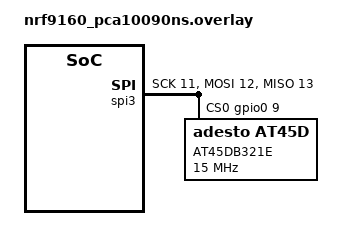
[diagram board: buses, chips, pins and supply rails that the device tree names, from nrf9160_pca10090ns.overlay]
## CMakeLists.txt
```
#
# Copyright (c) 2019 Nordic Semiconductor
#
# SPDX-License-Identifier: LicenseRef-BSD-5-Clause-Nordic
#

cmake_minimum_required(VERSION 3.8.2)

include($ENV{ZEPHYR_BASE}/../nrf/cmake/boilerplate.cmake)
include($ENV{ZEPHYR_BASE}/cmake/app/boilerplate.cmake NO_POLICY_SCOPE)
project(http_application_update)

# NORDIC SDK APP START
target_sources(app PRIVATE src/main.c)
add_subdirectory(mfu)
zephyr_library_include_directories(
  mfu
  )

# Get direct access to the API provided by dfu_target_flash
target_include_directories(app
  PRIVATE
  ${ZEPHYR_BASE}/../nrf/subsys/dfu/include
  )
# NORDIC SDK APP END
```

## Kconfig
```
#
# Copyright (c) 2019 Nordic Semiconductor ASA
#
# SPDX-License-Identifier: LicenseRef-BSD-5-Clause-Nordic
#

menu "HTTP application update sample"

config DOWNLOAD_HOST
	string "Download host name"

config DOWNLOAD_FILE
	string "The file to download"

config APPLICATION_VERSION
	int "Application version"
	default 1

endmenu

menu "MFU"
rsource "mfu/Kconfig"
endmenu

menu "Zephyr Kernel"
source "$ZEPHYR_BASE/Kconfig.zephyr"
endmenu
```

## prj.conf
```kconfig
#
# Copyright (c) 2019 Nordic Semiconductor ASA
#
# SPDX-License-Identifier: LicenseRef-BSD-5-Clause-Nordic
#
# General config
CONFIG_NCS_SAMPLES_DEFAULTS=y
CONFIG_REBOOT=y

# Network
CONFIG_NETWORKING=y
CONFIG_NET_SOCKETS=y
CONFIG_NET_NATIVE=n

# LTE link control
CONFIG_LTE_LINK_CONTROL=y
CONFIG_LTE_AUTO_INIT_AND_CONNECT=n

# BSD library
CONFIG_BSD_LIBRARY=y
CONFIG_BSD_LIBRARY_SYS_INIT=n

# Library for buttons and LEDs
CONFIG_DK_LIBRARY=y
CONFIG_DK_LIBRARY_INVERT_LEDS=n

# Heap and stacks
CONFIG_HEAP_MEM_POOL_SIZE=4096
CONFIG_MAIN_STACK_SIZE=16384

# Image manager
CONFIG_IMG_MANAGER=y
CONFIG_FLASH=y
CONFIG_IMG_ERASE_PROGRESSIVELY=y

# GPIO
CONFIG_GPIO=y

# FOTA library
CONFIG_FOTA_DOWNLOAD=y

# Download client
CONFIG_DOWNLOAD_CLIENT=y
CONFIG_DOWNLOAD_CLIENT_STACK_SIZE=4096

# DFU Target
CONFIG_DFU_TARGET=y
CONFIG_DFU_TARGET_MCUBOOT_SAVE_PROGRESS=y

# Settings
CONFIG_SETTINGS=y
CONFIG_SETTINGS_NVS=y

# Non-volatile Storage
CONFIG_NVS=y

# Application Upgrade support
CONFIG_BOOTLOADER_MCUBOOT=y

# Sample configuration
CONFIG_DOWNLOAD_HOST="auko-bucket.s3.eu-central-1.amazonaws.com"
CONFIG_DOWNLOAD_FILE="test_short.bin"
#CONFIG_DOWNLOAD_FILE="mfw_nrf9160_1.1.0.bin"

CONFIG_APPLICATION_VERSION=1

# Serial flash
CONFIG_FLASH=y
CONFIG_FLASH_PAGE_LAYOUT=y
CONFIG_SPI_FLASH_AT45D=y
CONFIG_SPI=y
CONFIG_LOG=y
# CONFIG_TINYCRYPT=y
# CONFIG_TINYCRYPT_SHA256=y
CONFIG_MFU_ENABLE=y
CONFIG_DFU_TARGET_FLASH=y
CONFIG_DFU_TARGET_MODEM=y
CONFIG_DFU_TARGET_MCUBOOT=y
CONFIG_NORDIC_SECURITY_BACKEND=y
```

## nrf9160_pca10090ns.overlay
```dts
&spi3 {
	sck-pin = <11>;
	mosi-pin = <12>;
	miso-pin = <13>;
	cs-gpios = <&gpio0 9 0>;

	at45db321e@0 {
		compatible = "adesto,at45d";
		reg = <0>;
		spi-max-frequency = <15000000>;
		label = "AT45DB321E";
		jedec-id = [1f 27 01];
		size = <33554432>;
		block-size = <4096>;
		page-size = <512>;
	};
};
```

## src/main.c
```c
/*
 * Copyright (c) 2019 Nordic Semiconductor ASA
 *
 * SPDX-License-Identifier: LicenseRef-BSD-5-Clause-Nordic
 */
#include <zephyr.h>
#include <drivers/gpio.h>
#include <drivers/flash.h>
#include <bsd.h>
#include <lte_lc.h>
#include <at_cmd.h>
#include <at_notif.h>
#include <net/bsdlib.h>
#include <net/fota_download.h>
#include <dfu/mcuboot.h>
#include "dfu_target_flash.h"

#include "mfu.h"

#define LED_PORT	DT_ALIAS_LED0_GPIOS_CONTROLLER

static struct		device *gpiob;
static struct		gpio_callback gpio_cb;
static struct k_work	fota_work;

static u32_t update_begin;
static u32_t update_end;

/**@brief Recoverable BSD library error. */
void bsd_recoverable_error_handler(uint32_t err)
{
	printk("bsdlib recoverable error: %u\n", err);
}

/**@brief Start transfer of the file. */
static void app_dfu_transfer_start(struct k_work *unused)
{
	int retval;

	mfu_update_verify_stream_init();

	retval = fota_download_start(CONFIG_DOWNLOAD_HOST,
				     CONFIG_DOWNLOAD_FILE);
	if (retval != 0) {
		/* Re-enable button callback */
		gpio_pin_enable_callback(gpiob, DT_ALIAS_SW0_GPIOS_PIN);

		printk("fota_download_start() failed, err %d\n",
			retval);
	}
}

/**@brief Turn on LED0 and LED1 if CONFIG_APPLICATION_VERSION
 * is 2 and LED0 otherwise.
 */
static int led_app_version(void)
{
	struct device *dev;

	dev = device_get_binding(LED_PORT);
	if (dev == 0) {
		printk("Nordic nRF GPIO driver was not found!\n");
		return 1;
	}

	gpio_pin_configure(dev, DT_ALIAS_LED0_GPIOS_PIN, GPIO_DIR_OUT);
	gpio_pin_write(dev, DT_ALIAS_LED0_GPIOS_PIN, 1);

#if CONFIG_APPLICATION_VERSION == 2
	gpio_pin_configure(dev, DT_ALIAS_LED1_GPIOS_PIN, GPIO_DIR_OUT);
	gpio_pin_write(dev, DT_ALIAS_LED1_GPIOS_PIN, 1);
#endif
	return 0;
}

void dfu_button_pressed(struct device *gpiob, struct gpio_callback *cb,
			u32_t pins)
{
	k_work_submit(&fota_work);
	gpio_pin_disable_callback(gpiob, DT_ALIAS_SW0_GPIOS_PIN);

	update_begin = k_cycle_get_32();
}

static int dfu_button_init(void)
{
	int err;

	gpiob = device_get_binding(DT_ALIAS_SW0_GPIOS_CONTROLLER);
	if (gpiob == 0) {
		printk("Nordic nRF GPIO driver was not found!\n");
		return 1;
	}
	err = gpio_pin_configure(gpiob, DT_ALIAS_SW0_GPIOS_PIN,
				 GPIO_DIR_IN | GPIO_INT | GPIO_PUD_PULL_UP |
					 GPIO_INT_EDGE | GPIO_INT_ACTIVE_LOW);
	if (err == 0) {
		gpio_init_callback(&gpio_cb, dfu_button_pressed,
			BIT(DT_ALIAS_SW0_GPIOS_PIN));
		err = gpio_add_callback(gpiob, &gpio_cb);
	}
	if (err == 0) {
		err = gpio_pin_enable_callback(gpiob, DT_ALIAS_SW0_GPIOS_PIN);
	}
	if (err != 0) {
		printk("Unable to configure SW0 GPIO pin!\n");
		return 1;
	}
	return 0;
}


void fota_dl_handler(const struct fota_download_evt *evt)
{
	u32_t time_diff;
	int err;

	switch (evt->id) {
	case FOTA_DOWNLOAD_EVT_ERROR:
		printk("Received error from fota_download\n");
		gpio_pin_enable_callback(gpiob, DT_ALIAS_SW0_GPIOS_PIN);
		break;
	case FOTA_DOWNLOAD_EVT_PROGRESS:
		// printk("FOTA_DOWNLOAD_EVT_PROGRESS: %d\n", evt->offset);
		err = mfu_update_verify_stream_process(evt->offset);
		if (err) {
			printk("ERROR: mfu_update_verify_stream_process: %d\n", err);
		}
		break;
	case FOTA_DOWNLOAD_EVT_FINISHED:
		/* Re-enable button callback */
		printk("FOTA DOWNLOAD FINISHED\n");
		gpio_pin_enable_callback(gpiob, DT_ALIAS_SW0_GPIOS_PIN);

		update_end = k_cycle_get_32();
		time_diff = update_begin < update_end ?
			(update_end - update_begin) :
			(UINT32_MAX - update_begin + update_end);
		printk("Download took %d ms\n",
			(time_diff * 1000) / CONFIG_SYS_CLOCK_HW_CYCLES_PER_SEC);

		err = mfu_update_verify_stream_finalize();
		if (err) {
			printk("ERROR: mfu_update_verify_stream_finalize: %d\n", err);
		} else {
			err = mfu_update_available_set();
			if (err) {
				printk("mfu_update_available_set: %d\n", err);
			}
		}

		break;

	default:
		break;
	}
}

/**@brief Configures modem to provide LTE link.
 *
 * Blocks until link is successfully established.
 */
static void modem_configure(void)
{
#if defined(CONFIG_LTE_LINK_CONTROL)
	BUILD_ASSERT_MSG(!IS_ENABLED(CONFIG_LTE_AUTO_INIT_AND_CONNECT),
			"This sample does not support auto init and connect");
	int err;

	err = at_notif_init();
	__ASSERT(err == 0, "AT Notify could not be initialized.");
	err = at_cmd_init();
	__ASSERT(err == 0, "AT CMD could not be established.");
	printk("LTE Link Connecting ...\n");
	err = lte_lc_init_and_connect();
	__ASSERT(err == 0, "LTE link could not be established.");
	// if (err) {
	// 	printk("LTE link could not be established.\n");
	// }
	printk("LTE Link Connected!\n");
#endif
}

static int application_init(void)
{
	int err;

	k_work_init(&fota_work, app_dfu_transfer_start);

	err = dfu_button_init();
	if (err != 0) {
		return err;
	}

	err = led_app_version();
	if (err != 0) {
		return err;
	}

	err = fota_download_init(fota_dl_handler);
	if (err != 0) {
		return err;
	}

	return 0;
}

#define FLASH_DEVICE  DT_INST_0_ADESTO_AT45D_LABEL
#define FLASH_DEVICE_ADDR_OFFSET 0
// #define FLASH_DEVICE_ADDR_OFFSET (FLASH_DEVICE_SIZE_BYTES / 2)
#define FLASH_DEVICE_SIZE_BYTES (DT_INST_0_ADESTO_AT45D_SIZE / 8)

// Addr offset 0 contains full update
// Addr offset FLASH_DEVICE_SIZE_BYTES / 2 contains small test file

#define FLASH_DEVICE_FULL_TEST 0

#if FLASH_DEVICE_FULL_TEST
static void serial_flash_test(void)
{
	printk("DataFlash test app on %s\n", CONFIG_BOARD);
	static u8_t write_buf[512];
	static u8_t read_buf[512];

	struct device *flash_dev;
	int i;
	int err;

	flash_dev = device_get_binding(FLASH_DEVICE);
	if (!flash_dev) {
		printk("Device %s not found!\n", FLASH_DEVICE);
		return;
	}

	for (i = 0; i < sizeof(write_buf); ++i) {
		write_buf[i] = (u8_t)i;
	}

	const struct flash_pages_layout *layout;
	const struct flash_driver_api *api = flash_dev->driver_api;
	size_t layout_size;
	api->page_layout(flash_dev, &layout, &layout_size);

	if (!layout) {
		printk("layout is NULL\n");
		return;
	}

	if (layout->pages_size != sizeof(write_buf)) {
		printk("ERROR: Page size mismatch\n");
		return;
	}

	printk("Erasing the entire flash... ");

	u32_t duration;
	u32_t timestamp_start, timestamp_end;
	u32_t time_diff;

	if (CONFIG_SYS_CLOCK_HW_CYCLES_PER_SEC != 32768) {
		printk("CONFIG_SYS_CLOCK_HW_CYCLES_PER_SEC: %d\n", CONFIG_SYS_CLOCK_HW_CYCLES_PER_SEC);
		return;
	}

	timestamp_start = k_cycle_get_32();

	for (int j = 0; j < ((layout->pages_count * 512) / DT_INST_0_ADESTO_AT45D_BLOCK_SIZE); ++j) {
		err = flash_erase(flash_dev, j * DT_INST_0_ADESTO_AT45D_BLOCK_SIZE, DT_INST_0_ADESTO_AT45D_BLOCK_SIZE);
		if (err != 0) {
			printk("FAILED to erase block %d\n", j);
		}
	}

	timestamp_end = k_cycle_get_32();
	time_diff = timestamp_start < timestamp_end ?
		(timestamp_end - timestamp_start) :
		(UINT32_MAX - timestamp_start + timestamp_end);

	printk("Erasing took %d ticks... \n", time_diff);

	printk("Writing the entire flash...\n");

	u32_t byte_count;

	byte_count = 0;
	timestamp_start = k_cycle_get_32();
	for (int j = 0; j < layout->pages_count; ++j) {
		err = flash_write(flash_dev, j * 512,
				write_buf,  sizeof(write_buf));
		if (err != 0) {
			printk("FAILED\n");
		} else {
			byte_count += sizeof(write_buf);
		}
	}

	timestamp_end = k_cycle_get_32();
	time_diff = timestamp_start < timestamp_end ?
		(timestamp_end - timestamp_start) :
		(UINT32_MAX - timestamp_start + timestamp_end);
	printk("Writing %d bytes took %d ticks... \n", byte_count, time_diff);

	printk("Reading the entire flash...\n");

	byte_count = 0;
	duration = 0;
	for (int j = 0; j < layout->pages_count; ++j) {
		timestamp_start = k_cycle_get_32();
		err = flash_read(flash_dev, j * 512,
			 read_buf, sizeof(read_buf));
		if (err != 0) {
			printk("FAILED\n");
		} else {
			byte_count += sizeof(read_buf);
		}
		timestamp_end = k_cycle_get_32();
		time_diff = timestamp_start < timestamp_end ?
		(timestamp_end - timestamp_start) :
		(UINT32_MAX - timestamp_start + timestamp_end);
		duration += time_diff;

		for (int k = 0; k < sizeof(read_buf); ++k) {
			if (read_buf[k] != write_buf[k]) {
				printk("\nERROR at offset %d: "
					"expected %02X, read %02X\n",
					j * 512 + k, write_buf[k], read_buf[k]);
			}
		}
	}
	printk("Read %d bytes in %d ticks...\n", byte_count, duration);
}
#endif

void main(void)
{
	int err;

#if FLASH_DEVICE_FULL_TEST
	serial_flash_test();
#endif

	struct device *flash_dev;

	flash_dev = device_get_binding(FLASH_DEVICE);

	static u8_t dfu_flash_buf[512];

	err = dfu_target_flash_cfg(FLASH_DEVICE, FLASH_DEVICE_ADDR_OFFSET, FLASH_DEVICE_SIZE_BYTES,
			 dfu_flash_buf, sizeof(dfu_flash_buf));
	if (err) {
		printk("dfu_target_flash_cfg: %d\n", err);
	}


	err = mfu_init(flash_dev, FLASH_DEVICE_ADDR_OFFSET);
	if (err) {
		printk("mfu_init(): %d\n", err);
	}

#if 0
	bool update_available = mfu_update_available_get();

	if (update_available) {
		printk("Update marked as available\n");
		err = mfu_update_apply();
		if (err) {
			printk("mfu_update_apply: %d\n", err);
		}
	} else {
		printk("No update marked as available\n");
	}
#else
	err = mfu_update_verify_integrity();
	if (err) {
		printk("Integrity check NOT OK\n");
	} else {
		printk("Integrity check OK\n");
		err = mfu_update_apply();
		if (err) {
			printk("mfu_update_apply: %d\n", err);
		}
	}
#endif

	while(true)
	{
		
	}

	printk("Initializing bsdlib\n");
	err = bsdlib_init();
	switch (err) {
	case MODEM_DFU_RESULT_OK:
		printk("Modem firmware update successful!\n");
		printk("Modem will run the new firmware after reboot\n");
		k_thread_suspend(k_current_get());
		break;
	case MODEM_DFU_RESULT_UUID_ERROR:
	case MODEM_DFU_RESULT_AUTH_ERROR:
		printk("Modem firmware update failed\n");
		printk("Modem will run non-updated firmware on reboot.\n");
		break;
	case MODEM_DFU_RESULT_HARDWARE_ERROR:
	case MODEM_DFU_RESULT_INTERNAL_ERROR:
		printk("Modem firmware update failed\n");
		printk("Fatal error.\n");
		break;
	case -1:
		printk("Could not initialize bsdlib.\n");
		printk("Fatal error.\n");
		return;
	default:
		break;
	}
	printk("Initialized bsdlib\n");

	modem_configure();

	boot_write_img_confirmed();

	err = application_init();
	if (err != 0) {
		return;
	}

	printk("Press Button 1 to start the FOTA download\n");
}
```
